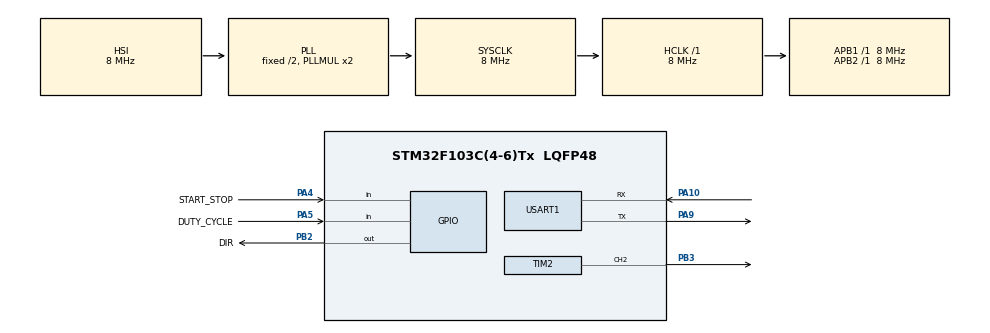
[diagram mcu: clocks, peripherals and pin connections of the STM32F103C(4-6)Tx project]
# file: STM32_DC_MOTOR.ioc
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Mcu.Family=STM32F1
Mcu.Name=STM32F103C(4-6)Tx
Mcu.Package=LQFP48
NVIC.PriorityGroup=NVIC_PRIORITYGROUP_4
PA10.Mode=Asynchronous
PA10.Signal=USART1_RX
PA4.GPIO_Label=START_STOP
PA4.GPIO_PuPd=GPIO_PULLUP
PA4.Signal=GPIO_Input
PA5.GPIO_Label=DUTY_CYCLE
PA5.GPIO_PuPd=GPIO_PULLUP
PA5.Signal=GPIO_Input
PA9.Mode=Asynchronous
PA9.Signal=USART1_TX
PB2.GPIO_Label=DIR 
PB2.Signal=GPIO_Output
PB3.Signal=S_TIM2_CH2
ProjectManager.HeapSize=0x200
ProjectManager.StackSize=0x400
ProjectManager.TargetToolchain=STM32CubeIDE
RCC.AHBFreq_Value=8000000
RCC.APB1Freq_Value=8000000
RCC.APB1TimFreq_Value=8000000
RCC.APB2Freq_Value=8000000
RCC.APB2TimFreq_Value=8000000
RCC.HCLKFreq_Value=8000000
RCC.SYSCLKFreq_VALUE=8000000
RCC.SYSCLKSource=RCC_SYSCLKSOURCE_PLLCLK
RCC.USBFreq_Value=8000000
SH.S_TIM2_CH2.0=TIM2_CH2,PWM Generation2 CH2
TIM2.AutoReloadPreload=TIM_AUTORELOAD_PRELOAD_DISABLE
TIM2.Channel-PWM\ Generation2\ CH2=TIM_CHANNEL_2
TIM2.Period=65535
TIM2.Pulse-PWM\ Generation2\ CH2=0
USART1.VirtualMode=VM_ASYNC
VP_SYS_VS_ND.Mode=No_Debug
board=custom

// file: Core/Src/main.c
/* USER CODE BEGIN Header */
/**
  ******************************************************************************
  * @file           : main.c
  * @brief          : Main program body
  ******************************************************************************
  * @attention
  *
  * Copyright (c) 2024 STMicroelectronics.
  * All rights reserved.
  *
  * This software is licensed under terms that can be found in the LICENSE file
  * in the root directory of this software component.
  * If no LICENSE file comes with this software, it is provided AS-IS.
  *
  ******************************************************************************
  */
/* USER CODE END Header */
#include "main.h"

/* USER CODE BEGIN Includes */
#include<stdio.h>
#include<string.h>
/* USER CODE END Includes */

/* USER CODE BEGIN PD */
#define DEBOUNCE_DELAY 50 // ms

/* USER CODE END PD */

TIM_HandleTypeDef htim2;

UART_HandleTypeDef huart1;

/* USER CODE BEGIN PV */
uint8_t motorRunning = 0;

uint8_t currentDutyCycle = 0; //0: 25%, 1: 50%, 2: 75%, 3: 99%

uint32_t lastDebounceTime = 0;
static uint8_t lastButtonState;// = GPIO_PIN_RESET; // Assume button is not pressed initially

/* USER CODE END PV */

void SystemClock_Config(void);
static void MX_GPIO_Init(void);
static void MX_TIM2_Init(void);
static void MX_USART1_UART_Init(void);
/* USER CODE BEGIN PFP */
void HandleStartStop(void);
void HandleDutyCycle(void);
void UpdatePWM(void);
void SendUartMessage(char* message);

/* USER CODE END PFP */

/* USER CODE BEGIN 0 */
void HandleStartStop(void)
{
  static GPIO_PinState lastStartStopState = GPIO_PIN_SET; // Track previous state
  GPIO_PinState currentStartStopState = HAL_GPIO_ReadPin(START_STOP_GPIO_Port, START_STOP_Pin);

  // Detect state change from high to low (button press)
  if (lastStartStopState == GPIO_PIN_SET && currentStartStopState == GPIO_PIN_RESET)
  {
    uint32_t currentTime = HAL_GetTick();
    if (currentTime - lastDebounceTime > DEBOUNCE_DELAY)
    {
      motorRunning = !motorRunning;
      // Send UART message indicating motor state
	   if (motorRunning)
		 {SendUartMessage("Motor Started\n\r");}
	   else
		 {SendUartMessage("Motor Stopped\n\r");}
      UpdatePWM();
      lastDebounceTime = currentTime;
    }
  }

  // Handle the motor state based on `motorRunning` status
  if (motorRunning)
  {
    HAL_GPIO_WritePin(DIR_GPIO_Port, DIR_Pin, GPIO_PIN_RESET); // Ensure DIR pin is set appropriately
    HAL_TIM_Base_Start(&htim2); // Start Timer2
    HAL_TIM_OC_Start(&htim2, TIM_CHANNEL_2); // Start PWM
  }
  else
  {
	//HAL_GPIO_WritePin(DIR_GPIO_Port, DIR_Pin, GPIO_PIN_RESET); // Ensure DIR pin is set appropriately
    HAL_TIM_Base_Stop(&htim2); // Stop Timer2
    HAL_TIM_OC_Stop(&htim2, TIM_CHANNEL_2); // Stop PWM
  }

  // Update the last button state
  lastStartStopState = currentStartStopState;
}

void HandleDutyCycle(void)
{
  uint8_t currentButtonState = HAL_GPIO_ReadPin(DUTY_CYCLE_GPIO_Port, DUTY_CYCLE_Pin);

  if (currentButtonState != lastButtonState) // Check for state change
  {
    uint32_t currentTime = HAL_GetTick();
    if (currentTime - lastDebounceTime > DEBOUNCE_DELAY)
    {
      if (currentButtonState == GPIO_PIN_RESET) // Button is pressed
      {
        currentDutyCycle = (currentDutyCycle + 1) % 4;
        UpdatePWM();
      }
      lastDebounceTime = currentTime;
    }
  }

  lastButtonState = currentButtonState; // Update the last button state
}

void UpdatePWM(void)
{
    if (motorRunning)
    {
        uint32_t pwmValue;
        char msg[100];
        float tau_max = 1.0; // Full-scale maximum torque in Nm (example value)
        float moment_of_inertia = 0.002; // Effective mass in kg·m²
        float angular_acceleration;

        switch (currentDutyCycle)
        {
            case 0:
                pwmValue = 65535 * 0.25; // 25% of 65535
                angular_acceleration = (0.25 * tau_max) / moment_of_inertia;
                sprintf(msg, "Duty Cycle: 25%%, Acceleration: %.2f rad/s^2\n\r", angular_acceleration);
                break;
            case 1:
                pwmValue = 65535 * 0.50; // 50% of 65535
                angular_acceleration = (0.50 * tau_max) / moment_of_inertia;
                sprintf(msg, "Duty Cycle: 50%%, Acceleration: %.2f rad/s^2\n\r", angular_acceleration);
                break;
            case 2:
                pwmValue = 65535 * 0.75; // 75% of 65535
                angular_acceleration = (0.75 * tau_max) / moment_of_inertia;
                sprintf(msg, "Duty Cycle: 75%%, Acceleration: %.2f rad/s^2\n\r", angular_acceleration);
                break;
            case 3:
                pwmValue = 65535 * 0.99; // 10% of 65535
                angular_acceleration = (0.99 * tau_max) / moment_of_inertia;
                sprintf(msg, "Duty Cycle: 99%%, Acceleration: %.2f rad/s^2\n\r", angular_acceleration);
                break;
            default:
                pwmValue = 0;
                sprintf(msg, "Duty Cycle: Error\n\r");
                break;
        }

        __HAL_TIM_SET_COMPARE(&htim2, TIM_CHANNEL_2, pwmValue);

        // Send UART message indicating new duty cycle and acceleration
        SendUartMessage(msg);
    }
    else
    {
        __HAL_TIM_SET_COMPARE(&htim2, TIM_CHANNEL_2, 0);
    }
}

// Function to send UART message
void SendUartMessage(char* message)
{
  HAL_UART_Transmit(&huart1, (uint8_t*)message, strlen(message), HAL_MAX_DELAY);
}

/* USER CODE END 0 */

int main(void)
{

  /* MCU Configuration--------------------------------------------------------*/

  /* Reset of all peripherals, Initializes the Flash interface and the Systick. */
  HAL_Init();

  /* Configure the system clock */
  SystemClock_Config();

  /* Initialize all configured peripherals */
  MX_GPIO_Init();
  MX_TIM2_Init();
  MX_USART1_UART_Init();
  /* USER CODE BEGIN 2 */

    SendUartMessage("Initialization  Completed \n\r");

  /* USER CODE END 2 */

  /* Infinite loop */
  while (1)
  {

    /* USER CODE BEGIN 3 */
	    HandleStartStop();
	    HandleDutyCycle();
  }
  /* USER CODE END 3 */
}

void SystemClock_Config(void)
{
  RCC_OscInitTypeDef RCC_OscInitStruct = {0};
  RCC_ClkInitTypeDef RCC_ClkInitStruct = {0};

  /** Initializes the RCC Oscillators according to the specified parameters
  * in the RCC_OscInitTypeDef structure.
  */
  RCC_OscInitStruct.OscillatorType = RCC_OSCILLATORTYPE_HSI;
  RCC_OscInitStruct.HSIState = RCC_HSI_ON;
  RCC_OscInitStruct.HSICalibrationValue = RCC_HSICALIBRATION_DEFAULT;
  RCC_OscInitStruct.PLL.PLLState = RCC_PLL_ON;
  RCC_OscInitStruct.PLL.PLLSource = RCC_PLLSOURCE_HSI_DIV2;
  RCC_OscInitStruct.PLL.PLLMUL = RCC_PLL_MUL2;
  if (HAL_RCC_OscConfig(&RCC_OscInitStruct) != HAL_OK)
  {
    Error_Handler();
  }

  /** Initializes the CPU, AHB and APB buses clocks
  */
  RCC_ClkInitStruct.ClockType = RCC_CLOCKTYPE_HCLK|RCC_CLOCKTYPE_SYSCLK
                              |RCC_CLOCKTYPE_PCLK1|RCC_CLOCKTYPE_PCLK2;
  RCC_ClkInitStruct.SYSCLKSource = RCC_SYSCLKSOURCE_PLLCLK;
  RCC_ClkInitStruct.AHBCLKDivider = RCC_SYSCLK_DIV1;
  RCC_ClkInitStruct.APB1CLKDivider = RCC_HCLK_DIV1;
  RCC_ClkInitStruct.APB2CLKDivider = RCC_HCLK_DIV1;

  if (HAL_RCC_ClockConfig(&RCC_ClkInitStruct, FLASH_LATENCY_0) != HAL_OK)
  {
    Error_Handler();
  }
}

static void MX_TIM2_Init(void)
{

  TIM_MasterConfigTypeDef sMasterConfig = {0};
  TIM_OC_InitTypeDef sConfigOC = {0};

  htim2.Instance = TIM2;
  htim2.Init.Prescaler = 0;
  htim2.Init.CounterMode = TIM_COUNTERMODE_UP;
  htim2.Init.Period = 65535;
  htim2.Init.ClockDivision = TIM_CLOCKDIVISION_DIV1;
  htim2.Init.AutoReloadPreload = TIM_AUTORELOAD_PRELOAD_DISABLE;
  if (HAL_TIM_PWM_Init(&htim2) != HAL_OK)
  {
    Error_Handler();
  }
  sMasterConfig.MasterOutputTrigger = TIM_TRGO_RESET;
  sMasterConfig.MasterSlaveMode = TIM_MASTERSLAVEMODE_DISABLE;
  if (HAL_TIMEx_MasterConfigSynchronization(&htim2, &sMasterConfig) != HAL_OK)
  {
    Error_Handler();
  }
  sConfigOC.OCMode = TIM_OCMODE_PWM1;
  sConfigOC.Pulse = 0;
  sConfigOC.OCPolarity = TIM_OCPOLARITY_HIGH;
  sConfigOC.OCFastMode = TIM_OCFAST_DISABLE;
  if (HAL_TIM_PWM_ConfigChannel(&htim2, &sConfigOC, TIM_CHANNEL_2) != HAL_OK)
  {
    Error_Handler();
  }
  HAL_TIM_MspPostInit(&htim2);

}

static void MX_USART1_UART_Init(void)
{

  huart1.Instance = USART1;
  huart1.Init.BaudRate = 115200;
  huart1.Init.WordLength = UART_WORDLENGTH_8B;
  huart1.Init.StopBits = UART_STOPBITS_1;
  huart1.Init.Parity = UART_PARITY_NONE;
  huart1.Init.Mode = UART_MODE_TX_RX;
  huart1.Init.HwFlowCtl = UART_HWCONTROL_NONE;
  huart1.Init.OverSampling = UART_OVERSAMPLING_16;
  if (HAL_UART_Init(&huart1) != HAL_OK)
  {
    Error_Handler();
  }

}

static void MX_GPIO_Init(void)
{
  GPIO_InitTypeDef GPIO_InitStruct = {0};

  /* GPIO Ports Clock Enable */
  __HAL_RCC_GPIOA_CLK_ENABLE();
  __HAL_RCC_GPIOB_CLK_ENABLE();

  /*Configure GPIO pin Output Level */
  HAL_GPIO_WritePin(DIR_GPIO_Port, DIR_Pin, GPIO_PIN_RESET);

  /*Configure GPIO pins : START_STOP_Pin DUTY_CYCLE_Pin */
  GPIO_InitStruct.Pin = START_STOP_Pin|DUTY_CYCLE_Pin;
  GPIO_InitStruct.Mode = GPIO_MODE_INPUT;
  GPIO_InitStruct.Pull = GPIO_PULLUP;
  HAL_GPIO_Init(GPIOA, &GPIO_InitStruct);

  /*Configure GPIO pin : DIR_Pin */
  GPIO_InitStruct.Pin = DIR_Pin;
  GPIO_InitStruct.Mode = GPIO_MODE_OUTPUT_PP;
  GPIO_InitStruct.Pull = GPIO_NOPULL;
  GPIO_InitStruct.Speed = GPIO_SPEED_FREQ_LOW;
  HAL_GPIO_Init(DIR_GPIO_Port, &GPIO_InitStruct);

}

void Error_Handler(void)
{
  __disable_irq();
  while (1)
  {
  }
}
